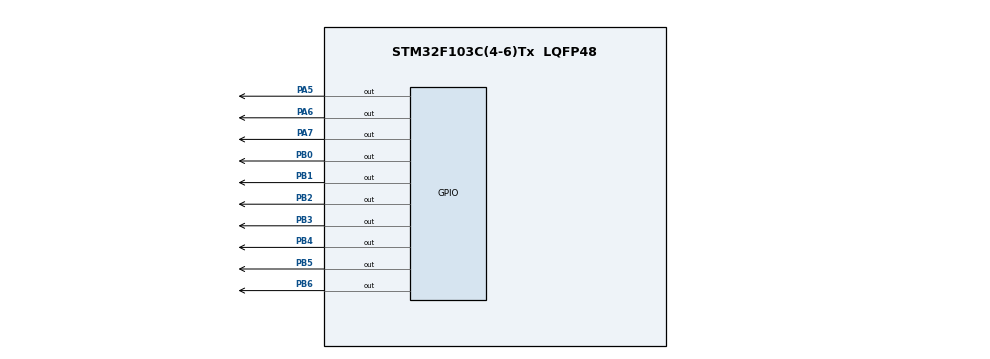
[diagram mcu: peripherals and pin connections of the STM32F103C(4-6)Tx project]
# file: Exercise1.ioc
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Mcu.Family=STM32F1
Mcu.Name=STM32F103C(4-6)Tx
Mcu.Package=LQFP48
NVIC.PriorityGroup=NVIC_PRIORITYGROUP_4
NVIC.TIM2_IRQn=true\:0\:0\:false\:false\:true\:true\:true
PA5.Signal=GPIO_Output
PA6.Signal=GPIO_Output
PA7.Signal=GPIO_Output
PB0.Signal=GPIO_Output
PB1.Signal=GPIO_Output
PB2.Signal=GPIO_Output
PB3.Signal=GPIO_Output
PB4.Signal=GPIO_Output
PB5.Signal=GPIO_Output
PB6.Signal=GPIO_Output
ProjectManager.HeapSize=0x200
ProjectManager.StackSize=0x400
ProjectManager.TargetToolchain=STM32CubeIDE
RCC.APB1Freq_Value=8000000
RCC.APB2Freq_Value=8000000
TIM2.Period=9
TIM2.Prescaler=7999
VP_SYS_VS_ND.Mode=No_Debug
VP_TIM2_VS_ClockSourceINT.Mode=Internal
board=custom

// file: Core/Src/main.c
/* USER CODE BEGIN Header */
/**
  ******************************************************************************
  * @file           : main.c
  * @brief          : Main program body
  ******************************************************************************
  * @attention
  *
  * <h2><center>&copy; Copyright (c) 2021 STMicroelectronics.
  * All rights reserved.</center></h2>
  *
  * This software component is licensed by ST under BSD 3-Clause license,
  * the "License"; You may not use this file except in compliance with the
  * License. You may obtain a copy of the License at:
  *                        opensource.org/licenses/BSD-3-Clause
  *
  ******************************************************************************
  */
/* USER CODE END Header */
#include "main.h"

TIM_HandleTypeDef htim2;

void SystemClock_Config(void);
static void MX_TIM2_Init(void);
static void MX_GPIO_Init(void);

int main(void)
{

  /* MCU Configuration--------------------------------------------------------*/

  /* Reset of all peripherals, Initializes the Flash interface and the Systick. */
  HAL_Init();

  /* Configure the system clock */
  SystemClock_Config();

  /* Initialize all configured peripherals */
  MX_TIM2_Init();
  MX_GPIO_Init();
  /* USER CODE BEGIN 2 */
  HAL_TIM_Base_Start_IT (& htim2 );
  /* USER CODE END 2 */

  /* Infinite loop */
  while (1)
  {

  }
}

void SystemClock_Config(void)
{
  RCC_OscInitTypeDef RCC_OscInitStruct = {0};
  RCC_ClkInitTypeDef RCC_ClkInitStruct = {0};

  /** Initializes the RCC Oscillators according to the specified parameters
  * in the RCC_OscInitTypeDef structure.
  */
  RCC_OscInitStruct.OscillatorType = RCC_OSCILLATORTYPE_HSI;
  RCC_OscInitStruct.HSIState = RCC_HSI_ON;
  RCC_OscInitStruct.HSICalibrationValue = RCC_HSICALIBRATION_DEFAULT;
  RCC_OscInitStruct.PLL.PLLState = RCC_PLL_NONE;
  if (HAL_RCC_OscConfig(&RCC_OscInitStruct) != HAL_OK)
  {
    Error_Handler();
  }
  /** Initializes the CPU, AHB and APB buses clocks
  */
  RCC_ClkInitStruct.ClockType = RCC_CLOCKTYPE_HCLK|RCC_CLOCKTYPE_SYSCLK
                              |RCC_CLOCKTYPE_PCLK1|RCC_CLOCKTYPE_PCLK2;
  RCC_ClkInitStruct.SYSCLKSource = RCC_SYSCLKSOURCE_HSI;
  RCC_ClkInitStruct.AHBCLKDivider = RCC_SYSCLK_DIV1;
  RCC_ClkInitStruct.APB1CLKDivider = RCC_HCLK_DIV1;
  RCC_ClkInitStruct.APB2CLKDivider = RCC_HCLK_DIV1;

  if (HAL_RCC_ClockConfig(&RCC_ClkInitStruct, FLASH_LATENCY_0) != HAL_OK)
  {
    Error_Handler();
  }
}

static void MX_TIM2_Init(void)
{

  TIM_ClockConfigTypeDef sClockSourceConfig = {0};
  TIM_MasterConfigTypeDef sMasterConfig = {0};

  htim2.Instance = TIM2;
  htim2.Init.Prescaler = 7999;
  htim2.Init.CounterMode = TIM_COUNTERMODE_UP;
  htim2.Init.Period = 9;
  htim2.Init.ClockDivision = TIM_CLOCKDIVISION_DIV1;
  htim2.Init.AutoReloadPreload = TIM_AUTORELOAD_PRELOAD_DISABLE;
  if (HAL_TIM_Base_Init(&htim2) != HAL_OK)
  {
    Error_Handler();
  }
  sClockSourceConfig.ClockSource = TIM_CLOCKSOURCE_INTERNAL;
  if (HAL_TIM_ConfigClockSource(&htim2, &sClockSourceConfig) != HAL_OK)
  {
    Error_Handler();
  }
  sMasterConfig.MasterOutputTrigger = TIM_TRGO_RESET;
  sMasterConfig.MasterSlaveMode = TIM_MASTERSLAVEMODE_DISABLE;
  if (HAL_TIMEx_MasterConfigSynchronization(&htim2, &sMasterConfig) != HAL_OK)
  {
    Error_Handler();
  }

}

static void MX_GPIO_Init(void)
{
  GPIO_InitTypeDef GPIO_InitStruct = {0};

  /* GPIO Ports Clock Enable */
  __HAL_RCC_GPIOA_CLK_ENABLE();
  __HAL_RCC_GPIOB_CLK_ENABLE();

  /*Configure GPIO pin Output Level */
  HAL_GPIO_WritePin(GPIOA, GPIO_PIN_5|GPIO_PIN_7, GPIO_PIN_RESET);
  HAL_GPIO_WritePin(GPIOA, GPIO_PIN_6, GPIO_PIN_SET);
  /*Configure GPIO pin Output Level */
  HAL_GPIO_WritePin(GPIOB, GPIO_PIN_0|GPIO_PIN_1|GPIO_PIN_2|GPIO_PIN_3
                          |GPIO_PIN_4|GPIO_PIN_5|GPIO_PIN_6, GPIO_PIN_SET);

  /*Configure GPIO pins : PA5 PA6 PA7 */
  GPIO_InitStruct.Pin = GPIO_PIN_5|GPIO_PIN_6|GPIO_PIN_7;
  GPIO_InitStruct.Mode = GPIO_MODE_OUTPUT_PP;
  GPIO_InitStruct.Pull = GPIO_NOPULL;
  GPIO_InitStruct.Speed = GPIO_SPEED_FREQ_LOW;
  HAL_GPIO_Init(GPIOA, &GPIO_InitStruct);

  /*Configure GPIO pins : PB0 PB1 PB2 PB3
                           PB4 PB5 PB6 */
  GPIO_InitStruct.Pin = GPIO_PIN_0|GPIO_PIN_1|GPIO_PIN_2|GPIO_PIN_3
                          |GPIO_PIN_4|GPIO_PIN_5|GPIO_PIN_6;
  GPIO_InitStruct.Mode = GPIO_MODE_OUTPUT_PP;
  GPIO_InitStruct.Pull = GPIO_NOPULL;
  GPIO_InitStruct.Speed = GPIO_SPEED_FREQ_LOW;
  HAL_GPIO_Init(GPIOB, &GPIO_InitStruct);

}

/* USER CODE BEGIN 4 */
int counter = 100;
void HAL_TIM_PeriodElapsedCallback ( TIM_HandleTypeDef * htim ){
	counter--;
	if( counter==50 ) {
			HAL_GPIO_TogglePin (GPIOA, GPIO_PIN_5) ;
			HAL_GPIO_TogglePin (GPIOA, GPIO_PIN_6) ;
			HAL_GPIO_TogglePin (GPIOA, GPIO_PIN_7) ;
			display7SEG(1);
	}
	if( counter <= 0) {
			counter = 100;
			HAL_GPIO_TogglePin (GPIOA, GPIO_PIN_5) ;
			HAL_GPIO_TogglePin (GPIOA, GPIO_PIN_6) ;
			HAL_GPIO_TogglePin (GPIOA, GPIO_PIN_7) ;
			display7SEG(2);
		}
}
void display7SEG(int num){
	if ( num==0 ) {
		HAL_GPIO_WritePin(GPIOB, GPIO_PIN_0|GPIO_PIN_1|GPIO_PIN_2|GPIO_PIN_3|GPIO_PIN_4|GPIO_PIN_5,0 );
		HAL_GPIO_WritePin(GPIOB, GPIO_PIN_6,1 );
	}
	if ( num==1 ) {
		HAL_GPIO_WritePin(GPIOB, GPIO_PIN_0|GPIO_PIN_3|GPIO_PIN_4|GPIO_PIN_5|GPIO_PIN_6, 1 );
		HAL_GPIO_WritePin(GPIOB, GPIO_PIN_1|GPIO_PIN_2, 0 );
	}
	if ( num==2 ) {
		HAL_GPIO_WritePin(GPIOB, GPIO_PIN_0|GPIO_PIN_1|GPIO_PIN_3|GPIO_PIN_4|GPIO_PIN_6,0 );
		HAL_GPIO_WritePin(GPIOB, GPIO_PIN_2|GPIO_PIN_5,1 );
	}
	if ( num==3 ) {
		HAL_GPIO_WritePin(GPIOB, GPIO_PIN_0|GPIO_PIN_1|GPIO_PIN_2|GPIO_PIN_3|GPIO_PIN_6,0 );
		HAL_GPIO_WritePin(GPIOB, GPIO_PIN_4|GPIO_PIN_5,1 );
	}
	if ( num==4 ) {
		HAL_GPIO_WritePin(GPIOB, GPIO_PIN_1|GPIO_PIN_2|GPIO_PIN_5|GPIO_PIN_6,0 );
		HAL_GPIO_WritePin(GPIOB, GPIO_PIN_0|GPIO_PIN_3|GPIO_PIN_4,1 );
	}
	if ( num==5 ) {
		HAL_GPIO_WritePin(GPIOB, GPIO_PIN_0|GPIO_PIN_2|GPIO_PIN_3|GPIO_PIN_5|GPIO_PIN_6,0 );
		HAL_GPIO_WritePin(GPIOB, GPIO_PIN_1|GPIO_PIN_4,1);
	}
	if ( num==6 ) {
		HAL_GPIO_WritePin(GPIOB, GPIO_PIN_0|GPIO_PIN_2|GPIO_PIN_3|GPIO_PIN_4|GPIO_PIN_5|GPIO_PIN_6,0 );
		HAL_GPIO_WritePin(GPIOB, GPIO_PIN_1,1 );
	}
	if ( num==7 ) {
		HAL_GPIO_WritePin(GPIOB, GPIO_PIN_0|GPIO_PIN_1|GPIO_PIN_2,0 );
		HAL_GPIO_WritePin(GPIOB, GPIO_PIN_3|GPIO_PIN_4|GPIO_PIN_5|GPIO_PIN_6,1 );
	}
	if ( num==8 ) {
		HAL_GPIO_WritePin(GPIOB, GPIO_PIN_0|GPIO_PIN_1|GPIO_PIN_2|GPIO_PIN_3|GPIO_PIN_4|GPIO_PIN_5|GPIO_PIN_6,0 );
	}
	if ( num==9 ) {
		HAL_GPIO_WritePin(GPIOB, GPIO_PIN_0|GPIO_PIN_1|GPIO_PIN_2|GPIO_PIN_3|GPIO_PIN_5|GPIO_PIN_6,0 );
		HAL_GPIO_WritePin(GPIOB, GPIO_PIN_4,1 );
	}
}
/* USER CODE END 4 */

void Error_Handler(void)
{
  __disable_irq();
  while (1)
  {
  }
}

/************************ (C) COPYRIGHT STMicroelectronics *****END OF FILE****/
